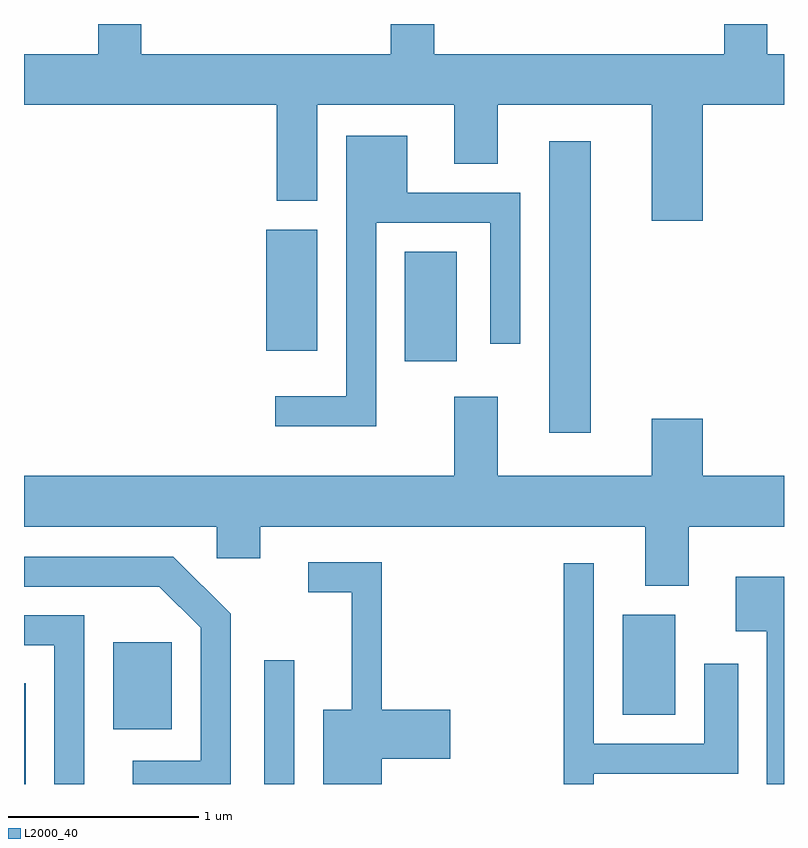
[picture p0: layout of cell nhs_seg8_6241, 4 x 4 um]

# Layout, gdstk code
import gdstk
lib = gdstk.Library(unit=1e-6, precision=1e-09)
def R(c, l, rs):  # rectangles x0, y0, x1, y1
    for r in rs: c.add(gdstk.rectangle(r[:2], r[2:], *l))
def P(c, l, *ps):  # polygons
    for p in ps: c.add(gdstk.Polygon(p, *l))
L2000_40 = (2000, 40)

nhs_seg8_6241 = lib.new_cell('nhs_seg8_6241')
R(nhs_seg8_6241, L2000_40, [(371.611,1888.342,371.619,1888.873), (372.876,1888.342,373.034,1888.993), (372.081,1888.631,372.389,1889.089), (374.761,1888.706,375.039,1889.234), (374.376,1890.191,374.594,1891.724), (373.616,1890.566,373.889,1891.144), (372.886,1890.621,373.154,1891.259)])
P(nhs_seg8_6241, L2000_40, [(373.769,1892.342),(373.541,1892.342),(373.541,1892.184),(372.229,1892.184),(372.229,1892.342),(372.001,1892.342),(372.001,1892.184),(371.611,1892.184),(371.611,1891.916),(372.941,1891.916),(372.941,1891.411),(373.154,1891.411),(373.154,1891.916),(373.876,1891.916),(373.876,1891.606),(374.104,1891.606),(374.104,1891.916),(374.916,1891.916),(374.916,1891.306),(375.184,1891.306),(375.184,1891.916),(375.611,1891.916),(375.611,1892.184),(375.524,1892.184),(375.524,1892.342),(375.296,1892.342),(375.296,1892.184),(373.769,1892.184)],
  [(375.073,1892.342),(374.341,1892.342),(374.341,1892.341),(375.072,1892.341)],
  [(373.464,1891.296),(374.066,1891.296),(374.066,1890.658),(374.224,1890.658),(374.224,1891.454),(373.629,1891.454),(373.629,1891.754),(373.306,1891.754),(373.306,1890.384),(372.933,1890.384),(372.933,1890.226),(373.464,1890.226)],
  [(375.109,1889.696),(375.611,1889.696),(375.611,1889.964),(375.184,1889.964),(375.184,1890.264),(374.916,1890.264),(374.916,1889.964),(374.104,1889.964),(374.104,1890.379),(373.876,1890.379),(373.876,1889.964),(371.611,1889.964),(371.611,1889.696),(372.626,1889.696),(372.626,1889.531),(372.854,1889.531),(372.854,1889.696),(374.881,1889.696),(374.881,1889.386),(375.109,1889.386)],
  [(372.699,1889.237),(372.397,1889.539),(371.611,1889.539),(371.611,1889.381),(372.324,1889.381),(372.541,1889.164),(372.541,1888.464),(372.183,1888.464),(372.183,1888.342),(372.699,1888.342)],
  [(373.494,1888.476),(373.854,1888.476),(373.854,1888.734),(373.494,1888.734),(373.494,1889.509),(373.108,1889.509),(373.108,1889.351),(373.336,1889.351),(373.336,1888.734),(373.186,1888.734),(373.186,1888.342),(373.494,1888.342)],
  [(374.609,1888.396),(375.369,1888.396),(375.369,1888.974),(375.191,1888.974),(375.191,1888.554),(374.609,1888.554),(374.609,1889.503),(374.451,1889.503),(374.451,1888.342),(374.609,1888.342)],
  [(375.611,1889.434),(375.356,1889.434),(375.356,1889.146),(375.521,1889.146),(375.521,1888.342),(375.611,1888.342)],
  [(371.929,1889.229),(371.611,1889.229),(371.611,1889.071),(371.771,1889.071),(371.771,1888.342),(371.929,1888.342)])

lib.write_gds('nhs_seg8_6241.gds')
